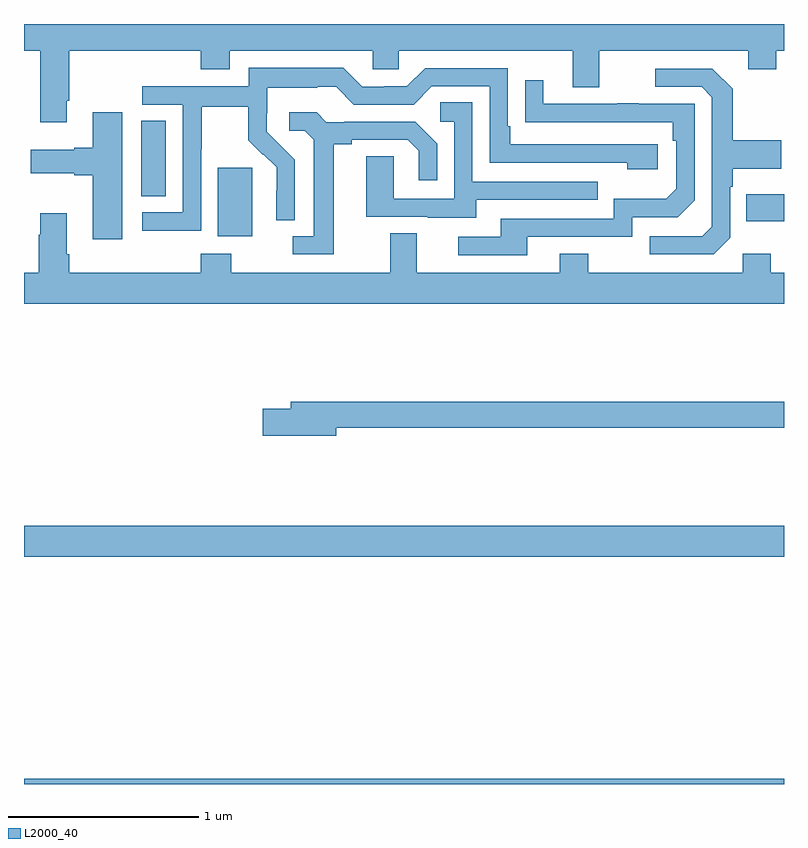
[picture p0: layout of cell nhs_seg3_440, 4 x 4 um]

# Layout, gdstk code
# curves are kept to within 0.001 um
import gdstk
lib = gdstk.Library(unit=1e-6, precision=1e-09)
def R(c, l, rs):  # rectangles x0, y0, x1, y1
    for r in rs: c.add(gdstk.rectangle(r[:2], r[2:], *l))
def P(c, l, *ps):  # polygons
    for p in ps: c.add(gdstk.Polygon(p, *l))
L2000_40 = (2000, 40)

nhs_seg3_440 = lib.new_cell('nhs_seg3_440')
R(nhs_seg3_440, L2000_40, [(133,686.4,137,686.428), (133,687.596,137,687.76), (134.021,689.282,134.2,689.643), (136.801,689.363,137,689.503), (133.616,689.494,133.747,689.891)])
P(nhs_seg3_440, L2000_40, [(133.225,689.995),(133.238,689.995),(133.238,690.26),(133.931,690.26),(133.931,690.161),(134.083,690.161),(134.083,690.26),(134.835,690.26),(134.835,690.162),(134.973,690.162),(134.973,690.26),(135.887,690.26),(135.887,690.066),(136.027,690.066),(136.027,690.26),(136.811,690.26),(136.811,690.161),(136.959,690.161),(136.959,690.26),(137,690.26),(137,690.4),(133,690.4),(133,690.26),(133.085,690.26),(133.085,689.883),(133.225,689.883)],
  [(133.932,689.74),(133.935,689.74),(133.935,689.964),(134.179,689.964),(134.179,689.789),(134.256,689.712),(134.259,689.715),(134.33,689.645),(134.33,689.522),(134.328,689.522),(134.328,689.368),(134.424,689.368),(134.424,689.686),(134.278,689.834),(134.278,689.931),(134.28,689.931),(134.28,690.065),(134.543,690.065),(134.543,690.069),(134.643,690.069),(134.736,689.976),(135.051,689.976),(135.147,690.072),(135.45,690.072),(135.45,689.67),(136.175,689.67),(136.175,689.636),(136.336,689.636),(136.336,689.766),(135.559,689.766),(135.559,689.863),(135.546,689.863),(135.546,690.168),(135.111,690.168),(135.015,690.072),(134.897,690.072),(134.897,690.069),(134.781,690.069),(134.681,690.169),(134.184,690.169),(134.184,690.072),(133.623,690.072),(133.623,689.976),(133.836,689.976),(133.836,689.409),(133.623,689.409),(133.623,689.311),(133.932,689.311)],
  [(136.716,689.274),(136.716,689.543),(136.729,689.543),(136.729,689.639),(136.985,689.639),(136.985,689.787),(136.729,689.787),(136.729,690.059),(136.623,690.165),(136.323,690.165),(136.323,690.069),(136.566,690.069),(136.62,690.015),(136.62,689.334),(136.569,689.283),(136.293,689.283),(136.293,689.187),(136.629,689.187)],
  [(135.649,689.28),(136.2,689.28),(136.2,689.382),(136.44,689.382),(136.53,689.472),(136.53,689.979),(136.235,689.979),(136.235,689.984),(136.123,689.984),(136.123,689.979),(135.733,689.979),(135.733,690.103),(135.637,690.103),(135.637,689.884),(136.414,689.883),(136.414,689.786),(136.434,689.786),(136.434,689.532),(136.381,689.479),(136.104,689.479),(136.104,689.376),(135.509,689.376),(135.509,689.28),(135.285,689.28),(135.285,689.184),(135.649,689.184)],
  [(135.379,689.475),(136.019,689.475),(136.019,689.571),(135.36,689.571),(135.36,689.987),(135.192,689.987),(135.192,689.886),(135.264,689.886),(135.264,689.481),(134.946,689.481),(134.946,689.705),(134.801,689.705),(134.801,689.385),(135.125,689.385),(135.125,689.381),(135.379,689.381)],
  [(133.516,689.935),(133.361,689.935),(133.361,689.75),(133.265,689.75),(133.265,689.737),(133.035,689.737),(133.035,689.615),(133.265,689.615),(133.265,689.603),(133.361,689.603),(133.361,689.268),(133.516,689.268)],
  [(134.629,689.768),(134.725,689.768),(134.725,689.79),(135.02,689.79),(135.077,689.733),(135.077,689.577),(135.174,689.577),(135.174,689.77),(135.058,689.886),(134.686,689.886),(134.686,689.883),(134.592,689.883),(134.54,689.935),(134.397,689.935),(134.397,689.838),(134.478,689.838),(134.525,689.791),(134.525,689.283),(134.415,689.283),(134.415,689.187),(134.629,689.187)],
  [(137,689.092),(136.929,689.092),(136.929,689.191),(136.782,689.191),(136.782,689.092),(135.969,689.092),(135.969,689.191),(135.821,689.191),(135.821,689.092),(135.067,689.092),(135.067,689.3),(134.927,689.3),(134.927,689.092),(134.091,689.092),(134.091,689.191),(133.931,689.191),(133.931,689.092),(133.238,689.092),(133.238,689.188),(133.225,689.188),(133.225,689.404),(133.085,689.404),(133.085,689.291),(133.078,689.291),(133.078,689.092),(133,689.092),(133,688.928),(137,688.928)],
  [(134.644,688.276),(137,688.276),(137,688.412),(134.405,688.412),(134.405,688.376),(134.256,688.376),(134.256,688.234),(134.644,688.234)])

lib.write_gds('nhs_seg3_440.gds')
